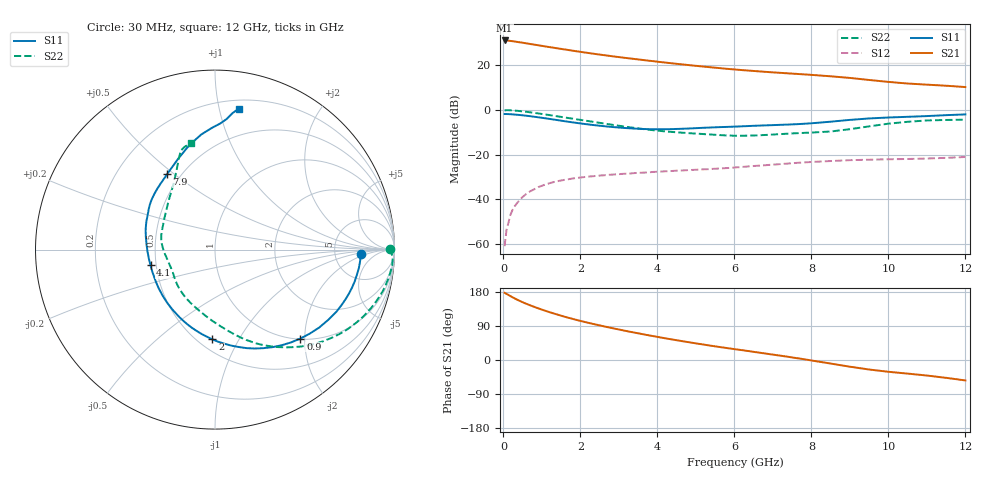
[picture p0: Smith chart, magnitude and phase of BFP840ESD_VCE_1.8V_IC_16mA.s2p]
! Infineon Technologies  Discrete & RF Semiconductors
! BFP840ESD
! VCE =  1.8 V,  IC =  16 mA
! Common Emitter S-Parameters:  May 2012
# GHz  S  MA  R  50
!  f  S11  S21  S12  S22
! GHz  MAG  ANG  MAG  ANG  MAG  ANG  MAG  ANG
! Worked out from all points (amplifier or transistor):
!   93 points, 30 MHz to 12 GHz, reference 50 ohm
!   highest |S21| = 31.1 dB at 30 MHz (marker M1)
!   |S21| within 3 dB of that: start of sweep to 1.208 GHz
!   unconditionally stable (mu >= 1): 5.133 GHz to 8.603 GHz
!   at 1.1 GHz: K = 0.36, MSG = 30.8 dB, |S12| = -33.3 dB
!   at 4.2 GHz: K = 0.91, MSG = 24.3 dB, |S12| = -27.4 dB
!   at 12 GHz: K = 0.73, MSG = 15.6 dB, |S12| = -21.0 dB
!   S11 on the Smith chart (normalised r, x): 30 MHz: 9.44, -1.25; 900 MHz: 1.01, -1.90; 2 GHz: 0.59, -0.78; 4.1 GHz: 0.47, -0.09; 7.9 GHz: 0.42, +0.47; 12 GHz: 0.27, +1.15
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0.03  0.8115 -1.6  35.86 177.3  0.0009 68.8  0.9757 0.3
0.08  0.8112 -4.4  35.8 174.4  0.0021 110.0  0.9915 -2.5
0.23  0.7982 -12.9  34.6 165.8  0.0057 78.5  0.9785 -9.7
0.43  0.7707 -23.4  32.54 155.6  0.0099 74.5  0.9434 -17.8
0.6  0.7423 -31.9  30.81 148.1  0.0134 70.0  0.9077 -24.1
0.9  0.6868 -46.2  28.04 136.5  0.0188 62.8  0.8385 -34.1
1.1  0.6492 -55.2  26.29 129.5  0.0217 58.2  0.7912 -40.1
1.4  0.5944 -68.0  23.91 119.9  0.0255 52.4  0.7221 -48.4
1.7  0.5433 -80.2  21.83 111.1  0.0284 48.0  0.6574 -55.8
2  0.5003 -91.7  19.94 103.2  0.0308 44.1  0.6001 -62.7
2.1  0.4871 -95.4  19.38 100.7  0.0316 43.2  0.5826 -64.8
2.5  0.4446 -110.0  17.34 91.3  0.0341 39.3  0.5157 -73.0
2.9  0.4115 -124.4  15.62 82.5  0.0362 36.6  0.4568 -81.1
3.5  0.3804 -145.6  13.5 70.4  0.0392 33.5  0.3874 -94.4
4.1  0.3697 -166.4  11.75 59.2  0.042 31.0  0.3383 -109.4
5  0.3923 169.3  9.711 43.9  0.046 28.1  0.2962 -131.2
6.1  0.4272 150.4  7.925 27.3  0.0524 26.1  0.2658 -156.2
7.9  0.4979 122.6  6.178 0.5  0.0679 16.7  0.3103 164.7
8.5  0.5472 111.9  5.667 -9.4  0.0722 12.2  0.3302 148.9
9.5  0.6465 96.7  4.689 -25.1  0.0772 3.9  0.4303 122.6
10.5  0.7034 87.6  3.905 -35.9  0.0802 -2.5  0.5442 111.8
12  0.7957 80.5  3.253 -53.9  0.0889 -9.8  0.6067 102.9
